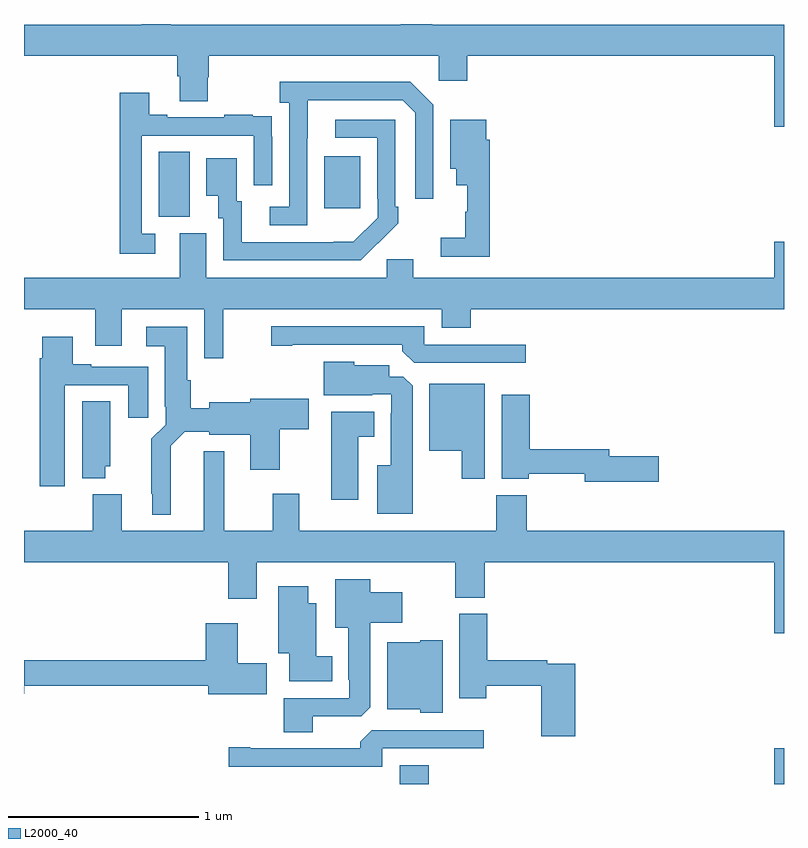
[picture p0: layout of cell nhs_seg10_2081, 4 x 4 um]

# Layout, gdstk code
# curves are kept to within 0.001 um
import gdstk
lib = gdstk.Library(unit=1e-6, precision=1e-09)
def R(c, l, rs):  # rectangles x0, y0, x1, y1
    for r in rs: c.add(gdstk.rectangle(r[:2], r[2:], *l))
def P(c, l, *ps):  # polygons
    for p in ps: c.add(gdstk.Polygon(p, *l))
L2000_40 = (2000, 40)

nhs_seg10_2081 = lib.new_cell('nhs_seg10_2081')
R(nhs_seg10_2081, L2000_40, [(222.977,1280.5,223.13,1280.599), (224.948,1280.5,225,1280.689), (221.708,1283.485,221.872,1283.828), (222.581,1283.529,222.769,1283.803)])
P(nhs_seg10_2081, L2000_40, [(225,1284.496),(223.148,1284.496),(223.148,1284.5),(222.983,1284.5),(222.983,1284.496),(221.772,1284.496),(221.772,1284.5),(221.621,1284.5),(221.621,1284.496),(221,1284.496),(221,1284.332),(221.807,1284.332),(221.807,1284.226),(221.819,1284.226),(221.819,1284.094),(221.967,1284.094),(221.967,1284.219),(221.972,1284.219),(221.972,1284.332),(223.182,1284.332),(223.182,1284.201),(223.334,1284.201),(223.334,1284.332),(224.948,1284.332),(224.948,1283.958),(225,1283.958)],
  [(222.492,1283.899),(222.493,1284.099),(222.993,1284.099),(223.059,1284.033),(223.059,1283.58),(223.155,1283.58),(223.155,1284.075),(223.034,1284.196),(222.345,1284.196),(222.345,1284.086),(222.396,1284.086),(222.396,1283.538),(222.294,1283.538),(222.294,1283.442),(222.492,1283.442)],
  [(221.692,1283.397),(221.619,1283.397),(221.619,1283.913),(222.21,1283.913),(222.21,1283.652),(222.306,1283.652),(222.306,1283.906),(222.305,1283.906),(222.305,1284.015),(222.203,1284.015),(222.203,1284.022),(222.055,1284.022),(222.055,1284.009),(221.755,1284.009),(221.755,1284.022),(221.659,1284.022),(221.659,1284.139),(221.503,1284.139),(221.503,1283.292),(221.692,1283.292)],
  [(222.863,1283.347),(222.864,1283.346),(222.969,1283.451),(222.969,1283.539),(222.954,1283.539),(222.954,1283.997),(222.639,1283.997),(222.639,1283.901),(222.858,1283.901),(222.858,1283.581),(222.861,1283.581),(222.861,1283.481),(222.733,1283.353),(222.145,1283.352),(222.145,1283.568),(222.121,1283.568),(222.121,1283.794),(221.96,1283.794),(221.96,1283.597),(222.023,1283.597),(222.023,1283.478),(222.048,1283.478),(222.048,1283.256),(222.772,1283.256)],
  [(223.451,1283.891),(223.432,1283.891),(223.432,1283.995),(223.244,1283.995),(223.244,1283.738),(223.274,1283.738),(223.274,1283.651),(223.334,1283.651),(223.334,1283.511),(223.323,1283.511),(223.323,1283.375),(223.194,1283.375),(223.194,1283.274),(223.451,1283.274)],
  [(222.048,1283),(223.199,1283),(223.199,1282.901),(223.352,1282.901),(223.352,1283),(225,1283),(225,1283.353),(224.948,1283.353),(224.948,1283.164),(223.048,1283.164),(223.048,1283.262),(222.909,1283.262),(222.909,1283.164),(221.959,1283.164),(221.959,1283.4),(221.819,1283.4),(221.819,1283.164),(221,1283.164),(221,1283),(221.375,1283),(221.375,1282.806),(221.515,1282.806),(221.515,1283),(221.949,1283),(221.949,1282.74),(222.048,1282.74)],
  [(223.642,1282.812),(223.107,1282.812),(223.107,1282.908),(222.3,1282.908),(222.3,1282.807),(222.412,1282.807),(222.412,1282.812),(222.992,1282.812),(222.992,1282.778),(223.053,1282.716),(223.642,1282.716)],
  [(221.773,1282.28),(221.847,1282.355),(221.976,1282.355),(221.976,1282.337),(222.191,1282.337),(222.191,1282.155),(222.346,1282.155),(222.346,1282.366),(222.499,1282.366),(222.499,1282.528),(222.191,1282.528),(222.191,1282.508),(221.976,1282.508),(221.976,1282.477),(221.878,1282.477),(221.878,1282.626),(221.86,1282.626),(221.86,1282.906),(221.643,1282.906),(221.643,1282.805),(221.741,1282.805),(221.741,1282.486),(221.745,1282.486),(221.745,1282.392),(221.671,1282.318),(221.671,1282.027),(221.675,1282.027),(221.675,1281.917),(221.773,1281.917)],
  [(221.215,1282.599),(221.549,1282.599),(221.549,1282.428),(221.653,1282.428),(221.653,1282.695),(221.353,1282.695),(221.353,1282.708),(221.257,1282.708),(221.257,1282.855),(221.096,1282.855),(221.096,1282.742),(221.084,1282.742),(221.084,1282.068),(221.215,1282.068)],
  [(223.045,1282.595),(222.996,1282.644),(222.922,1282.644),(222.922,1282.705),(222.738,1282.705),(222.738,1282.723),(222.578,1282.723),(222.578,1282.547),(222.833,1282.547),(222.833,1282.551),(222.933,1282.551),(222.933,1282.451),(222.929,1282.451),(222.929,1282.177),(222.86,1282.177),(222.86,1281.923),(223.045,1281.923)],
  [(223.426,1282.606),(223.133,1282.606),(223.133,1282.253),(223.304,1282.253),(223.304,1282.107),(223.426,1282.107)],
  [(224.341,1282.226),(224.08,1282.226),(224.08,1282.262),(223.661,1282.262),(223.661,1282.549),(223.514,1282.549),(223.514,1282.106),(223.656,1282.106),(223.656,1282.134),(223.952,1282.134),(223.952,1282.091),(224.341,1282.091)],
  [(221.428,1282.173),(221.455,1282.173),(221.455,1282.514),(221.306,1282.514),(221.306,1282.109),(221.428,1282.109)],
  [(222.76,1282.328),(222.844,1282.328),(222.844,1282.459),(222.617,1282.459),(222.617,1281.996),(222.76,1281.996)],
  [(225,1281.832),(223.646,1281.832),(223.646,1282.021),(223.486,1282.021),(223.486,1281.832),(222.448,1281.832),(222.448,1282.027),(222.308,1282.027),(222.308,1281.832),(222.055,1281.832),(222.055,1282.145),(222.054,1282.145),(222.054,1282.252),(221.945,1282.252),(221.945,1281.832),(221.515,1281.832),(221.515,1282.024),(221.363,1282.024),(221.363,1281.832),(221,1281.832),(221,1281.668),(222.074,1281.668),(222.074,1281.474),(222.226,1281.474),(222.226,1281.668),(223.271,1281.668),(223.271,1281.481),(223.424,1281.481),(223.424,1281.668),(224.948,1281.668),(224.948,1281.294),(225,1281.294)],
  [(222.52,1280.856),(222.774,1280.856),(222.823,1280.905),(222.823,1281.35),(222.991,1281.35),(222.991,1281.508),(222.823,1281.508),(222.823,1281.577),(222.638,1281.577),(222.638,1281.323),(222.707,1281.323),(222.707,1281.049),(222.711,1281.049),(222.711,1280.952),(222.368,1280.952),(222.368,1280.773),(222.52,1280.773)],
  [(222.622,1281.172),(222.538,1281.172),(222.538,1281.451),(222.496,1281.451),(222.496,1281.541),(222.338,1281.541),(222.338,1281.188),(222.395,1281.188),(222.395,1281.041),(222.622,1281.041)],
  [(223.901,1281.132),(223.754,1281.132),(223.754,1281.152),(223.439,1281.152),(223.439,1281.396),(223.292,1281.396),(223.292,1280.952),(223.434,1280.952),(223.434,1281.016),(223.723,1281.016),(223.723,1280.751),(223.901,1280.751)],
  [(222.277,1281.135),(222.124,1281.135),(222.124,1281.346),(221.957,1281.346),(221.957,1281.152),(221,1281.152),(221,1280.974),(221.002,1280.974),(221.002,1281.016),(221.969,1281.016),(221.969,1280.972),(222.277,1280.972)],
  [(223.204,1281.256),(223.086,1281.256),(223.086,1281.247),(222.911,1281.247),(222.911,1280.894),(223.086,1280.894),(223.086,1280.876),(223.204,1280.876)],
  [(222.885,1280.688),(223.42,1280.688),(223.42,1280.784),(222.831,1280.784),(222.77,1280.722),(222.77,1280.688),(222.19,1280.688),(222.19,1280.693),(222.078,1280.693),(222.078,1280.592),(222.885,1280.592)])

lib.write_gds('nhs_seg10_2081.gds')
